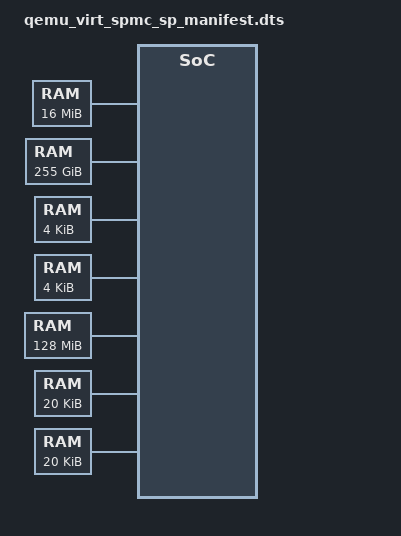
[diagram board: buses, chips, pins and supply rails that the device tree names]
/*
 * Copyright (c) 2022, Arm Limited. All rights reserved.
 *
 * SPDX-License-Identifier: BSD-3-Clause
 */
 /dts-v1/;

 / {
   compatible = "arm,ffa-core-manifest-1.0";
   #address-cells = <2>;
   #size-cells = <2>;

   attribute {
     spmc_id = <0x8000>;
     maj_ver = <0x1>;
     min_ver = <0x1>;
     exec_state = <0x0>;
     load_address = <0x0 0x0e100000>;
     entrypoint = <0x0 0x0e100000>;
     binary_size = <0x80000>;
   };

   hypervisor {
     compatible = "hafnium,hafnium";
     vm1 {
       is_ffa_partition;
       debug_name = "stmm";
       load_address = <0x0 0x0e400000>;
       vcpu_count = <1>;
       mem_size = <0x0 0x300000>;
     };
     /* Example Rust Service */
     vm2 {
       is_ffa_partition;
       load_address = <0x0 0x0e700000>;
       debug_name = "mssp-rust";
       vcpu_count = <1>;
       mem_size = <0x400000>;
     };
   };

   cpus {
     #address-cells = <0x2>;
     #size-cells = <0x0>;

    cpu@0 {
      device_type = "cpu";
      reg = <0x0 0x0>;
    };

    cpu@3 {
      device_type = "cpu";
      reg = <0x0 0x3>;
    };

		cpu@2 {
			device_type = "cpu";
			reg = <0x0 0x2>;
		};

		cpu@1 {
			device_type = "cpu";
			reg = <0x0 0x1>;
		};
   };

  memory@0 {
    device_type = "memory"; /* Trusted DRAM */
    reg = <0x0 0x0e000000 0x0 0x01000000>;
  };

  memory@1 {
    device_type = "ns-memory";
    reg = <0x0 0x40000000 0x3F 0xC0000000>;
  };

  memory@2 {
		device_type = "device-memory"; /* UART */
		reg = <0x0 0x09000000 0x0 0x00001000>;
	};

  memory@3 {
		device_type = "device-memory"; /* UART */
		reg = <0x0 0x09040000 0x0 0x00001000>;
	};

  memory@4 {
		device_type = "device-memory"; /* FLASH */
		reg = <0x0 0x0 0x0 0x08000000 >;
	};

  memory@5 {
    device_type = "device-memory"; /* TPM */
    reg = <0x0 0x0c000000 0x0 0x00005000 >;
  };

  memory@6 {
    device_type = "device-memory"; /* Internal TPM CRB */
    reg = <0x0 0x40200000 0x0 0x00005000>;
  };

};
